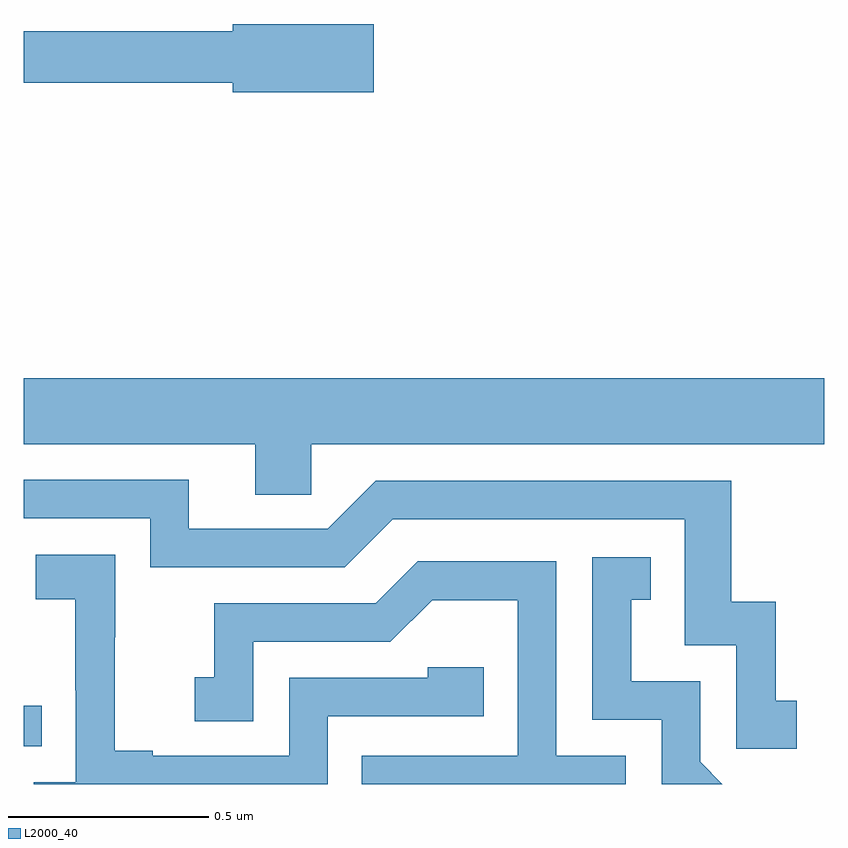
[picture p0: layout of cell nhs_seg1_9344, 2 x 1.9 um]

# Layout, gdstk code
import gdstk
lib = gdstk.Library(unit=1e-6, precision=1e-09)
def R(c, l, rs):  # rectangles x0, y0, x1, y1
    for r in rs: c.add(gdstk.rectangle(r[:2], r[2:], *l))
def P(c, l, *ps):  # polygons
    for p in ps: c.add(gdstk.Polygon(p, *l))
L2000_40 = (2000, 40)

nhs_seg1_9344 = lib.new_cell('nhs_seg1_9344')
R(nhs_seg1_9344, L2000_40, [(227,568.293,227.045,568.394)])
P(nhs_seg1_9344, L2000_40, [(227.875,570.097),(227.522,570.097),(227.522,570.079),(227,570.079),(227,569.95),(227.522,569.95),(227.522,569.927),(227.875,569.927)],
  [(227.718,569.048),(229,569.048),(229,569.212),(227,569.212),(227,569.048),(227.579,569.048),(227.579,568.921),(227.718,568.921)],
  [(228.931,568.407),(228.878,568.407),(228.878,568.654),(228.767,568.654),(228.767,568.956),(227.88,568.956),(227.76,568.836),(227.413,568.836),(227.413,568.959),(227,568.959),(227,568.863),(227.316,568.863),(227.316,568.74),(227.802,568.74),(227.922,568.86),(228.651,568.86),(228.651,568.545),(228.78,568.545),(228.78,568.287),(228.931,568.287)],
  [(227.76,568.368),(228.149,568.368),(228.149,568.491),(228.009,568.491),(228.009,568.464),(227.664,568.464),(227.664,568.269),(227.323,568.269),(227.323,568.282),(227.228,568.282),(227.228,568.565),(227.229,568.565),(227.229,568.771),(227.031,568.771),(227.031,568.661),(227.129,568.661),(227.129,568.433),(227.13,568.433),(227.13,568.203),(227.025,568.203),(227.025,568.199),(227.76,568.199)],
  [(228.69,568.254),(228.69,568.455),(228.517,568.455),(228.517,568.659),(228.566,568.659),(228.566,568.765),(228.42,568.765),(228.42,568.359),(228.594,568.359),(228.594,568.199),(228.745,568.199)],
  [(228.504,568.269),(228.33,568.269),(228.33,568.755),(227.984,568.755),(227.879,568.65),(227.476,568.65),(227.476,568.465),(227.427,568.465),(227.427,568.356),(227.574,568.356),(227.574,568.554),(227.916,568.554),(228.02,568.658),(228.234,568.658),(228.234,568.269),(227.845,568.269),(227.845,568.199),(228.504,568.199)])

lib.write_gds('nhs_seg1_9344.gds')
